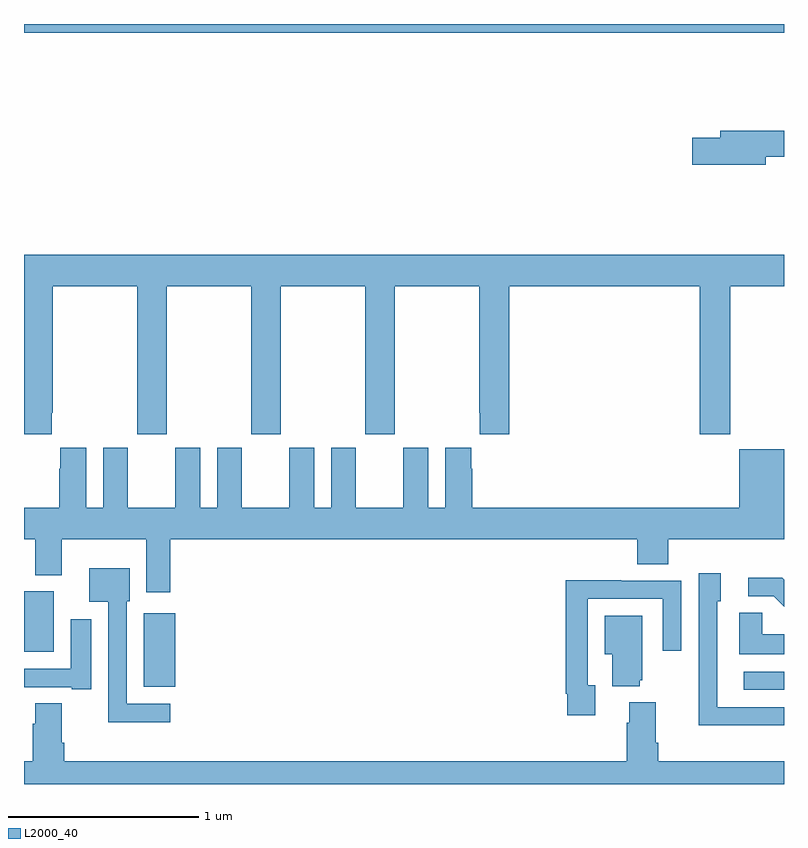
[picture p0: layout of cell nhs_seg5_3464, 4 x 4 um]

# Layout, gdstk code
import gdstk
lib = gdstk.Library(unit=1e-6, precision=1e-09)
def R(c, l, rs):  # rectangles x0, y0, x1, y1
    for r in rs: c.add(gdstk.rectangle(r[:2], r[2:], *l))
def P(c, l, *ps):  # polygons
    for p in ps: c.add(gdstk.Polygon(p, *l))
L2000_40 = (2000, 40)

nhs_seg5_3464 = lib.new_cell('nhs_seg5_3464')
R(nhs_seg5_3464, L2000_40, [(318.789,861.294,319,861.39), (315.629,861.311,315.796,861.697), (315,861.494,315.157,861.814), (315,864.752,319,864.799)])
P(nhs_seg5_3464, L2000_40, [(318.904,864.1),(319,864.1),(319,864.236),(318.665,864.236),(318.665,864.2),(318.516,864.2),(318.516,864.058),(318.904,864.058)],
  [(315.145,862.753),(315.15,862.753),(315.15,863.42),(315.595,863.42),(315.595,862.641),(315.75,862.641),(315.75,863.42),(316.195,863.42),(316.195,862.641),(316.35,862.641),(316.35,863.42),(316.795,863.42),(316.795,862.641),(316.95,862.641),(316.95,863.42),(317.395,863.42),(317.395,862.753),(317.399,862.753),(317.399,862.641),(317.555,862.641),(317.555,863.42),(318.557,863.42),(318.557,862.641),(318.717,862.641),(318.717,863.42),(319,863.42),(319,863.584),(315,863.584),(315,862.641),(315.145,862.641)],
  [(318.227,861.955),(318.392,861.955),(318.392,862.088),(319,862.088),(319,862.561),(318.764,862.561),(318.764,862.252),(317.36,862.252),(317.36,862.457),(317.353,862.457),(317.353,862.57),(317.216,862.57),(317.216,862.252),(317.128,862.252),(317.128,862.57),(316.997,862.57),(316.997,862.252),(316.747,862.252),(316.747,862.57),(316.616,862.57),(316.616,862.252),(316.528,862.252),(316.528,862.57),(316.397,862.57),(316.397,862.252),(316.147,862.252),(316.147,862.57),(316.016,862.57),(316.016,862.252),(315.928,862.252),(315.928,862.57),(315.797,862.57),(315.797,862.252),(315.547,862.252),(315.547,862.57),(315.416,862.57),(315.416,862.252),(315.328,862.252),(315.328,862.57),(315.191,862.57),(315.191,862.457),(315.185,862.457),(315.185,862.252),(315,862.252),(315,862.088),(315.059,862.088),(315.059,861.899),(315.199,861.899),(315.199,862.088),(315.644,862.088),(315.644,861.807),(315.77,861.807),(315.77,862.088),(318.227,862.088)],
  [(315.769,861.222),(315.54,861.222),(315.54,861.762),(315.556,861.762),(315.556,861.934),(315.344,861.934),(315.344,861.758),(315.444,861.758),(315.444,861.125),(315.769,861.125)],
  [(319,861.204),(318.648,861.204),(318.648,861.762),(318.667,861.762),(318.667,861.907),(318.552,861.907),(318.552,861.413),(318.55,861.413),(318.55,861.107),(319,861.107)],
  [(319,861.875),(318.991,861.884),(318.813,861.884),(318.813,861.786),(318.947,861.786),(319,861.733)],
  [(318.007,861.318),(317.967,861.318),(317.967,861.774),(318.363,861.774),(318.363,861.501),(318.459,861.501),(318.459,861.87),(318.143,861.87),(318.143,861.872),(317.851,861.872),(317.851,861.274),(317.859,861.274),(317.859,861.162),(318.007,861.162)],
  [(319,861.586),(318.885,861.586),(318.885,861.701),(318.764,861.701),(318.764,861.482),(319,861.482)],
  [(318.242,861.345),(318.253,861.345),(318.253,861.685),(318.056,861.685),(318.056,861.482),(318.095,861.482),(318.095,861.314),(318.242,861.314)],
  [(315.355,861.667),(315.245,861.667),(315.245,861.405),(315,861.405),(315,861.309),(315.251,861.309),(315.251,861.297),(315.355,861.297)],
  [(319,860.92),(318.338,860.92),(318.338,861.016),(318.325,861.016),(318.325,861.229),(318.185,861.229),(318.185,861.122),(318.173,861.122),(318.173,860.92),(315.212,860.92),(315.212,861.016),(315.199,861.016),(315.199,861.224),(315.059,861.224),(315.059,861.116),(315.047,861.116),(315.047,860.92),(315,860.92),(315,860.799),(319,860.799)])

lib.write_gds('nhs_seg5_3464.gds')
